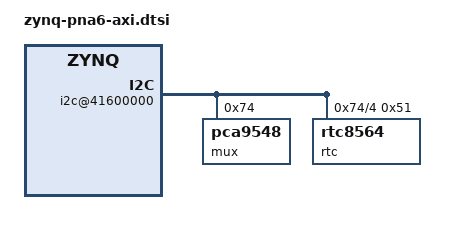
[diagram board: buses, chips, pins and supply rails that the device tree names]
/ {
	fpga_axi: fpga-axi@0 {
		compatible = "simple-bus";
		#address-cells = <0x1>;
		#size-cells = <0x1>;
		ranges;

		i2c@41600000 {
			compatible = "xlnx,axi-iic-1.02.a", "xlnx,xps-iic-2.00.a";
			reg = <0x41600000 0x10000>;
			interrupt-parent = <&intc>;
			interrupts = <0 58 4>;
			clocks = <&clkc 15>;
			clock-names = "pclk";

			#address-cells = <1>;
			#size-cells = <0>;

			mux@74 {
				compatible = "pca9548";
				reg = <0x74>;
				#address-cells = <1>;
				#size-cells = <0>;

				i2c@4 {
					#size-cells = <0>;
					#address-cells = <1>;
					reg = <4>;
					rtc@51 {
						compatible = "rtc8564";
						reg = <0x51>;
					};
				};

				fmc_i2c: i2c@5 {
					#size-cells = <0>;
					#address-cells = <1>;
					reg = <5>;
				};
			};

		};

		axi_sysid_0: axi-sysid-0@45000000 {
			compatible = "adi,axi-sysid-1.00.a";
			reg = <0x45000000 0x10000>;
		};
	};
};

